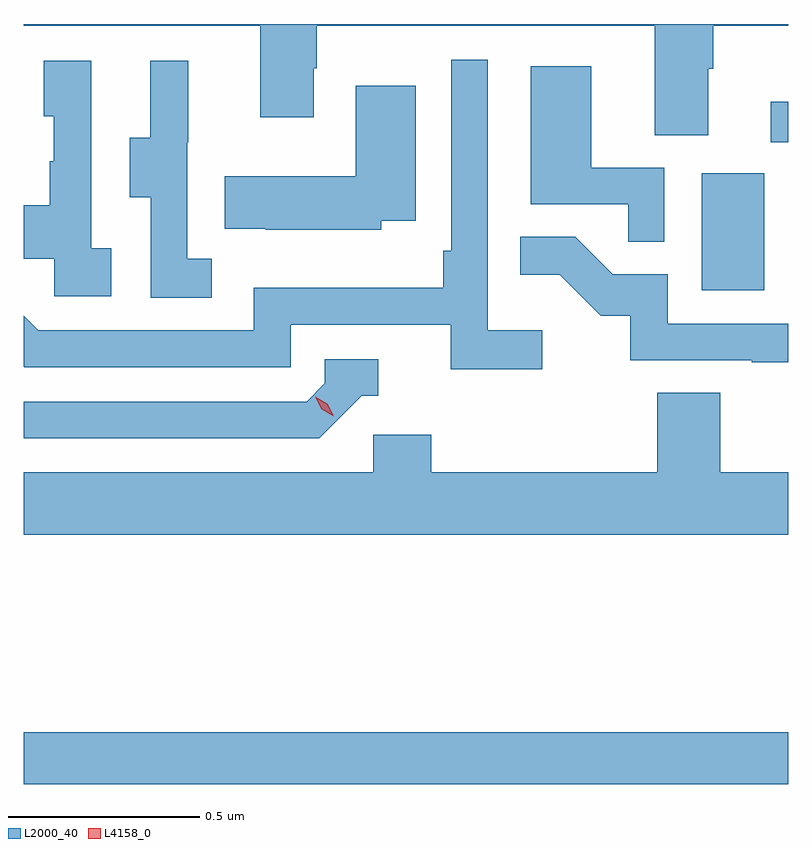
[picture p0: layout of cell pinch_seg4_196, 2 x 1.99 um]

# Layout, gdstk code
import gdstk
lib = gdstk.Library(unit=1e-6, precision=1e-09)
def R(c, l, rs):  # rectangles x0, y0, x1, y1
    for r in rs: c.add(gdstk.rectangle(r[:2], r[2:], *l))
def P(c, l, *ps):  # polygons
    for p in ps: c.add(gdstk.Polygon(p, *l))
L2000_40 = (2000, 40)
L4158_0 = (4158, 0)

pinch_seg4_196 = lib.new_cell('pinch_seg4_196')
R(pinch_seg4_196, L2000_40, [(960.79,812.152,962.79,812.288), (962.564,813.444,962.728,813.751), (962.745,813.831,962.79,813.937)])
P(pinch_seg4_196, L2000_40, [(962.581,814.024),(962.594,814.024),(962.594,814.136),(962.79,814.136),(962.79,814.141),(960.79,814.141),(960.79,814.136),(961.409,814.136),(961.409,813.897),(961.549,813.897),(961.549,814.025),(961.557,814.025),(961.557,814.136),(962.441,814.136),(962.441,813.85),(962.581,813.85)],
  [(962.146,813.34),(962.004,813.34),(962.004,814.048),(961.908,814.048),(961.908,813.547),(961.888,813.547),(961.888,813.451),(961.392,813.451),(961.392,813.339),(960.828,813.339),(960.79,813.377),(960.79,813.244),(960.791,813.243),(961.488,813.243),(961.488,813.354),(961.907,813.354),(961.907,813.238),(962.146,813.238)],
  [(961.018,813.554),(960.966,813.554),(960.966,814.045),(960.842,814.045),(960.842,813.9),(960.868,813.9),(960.868,813.782),(960.858,813.782),(960.858,813.667),(960.79,813.667),(960.79,813.527),(960.87,813.527),(960.87,813.429),(961.018,813.429)],
  [(961.282,813.527),(961.218,813.527),(961.218,813.831),(961.22,813.831),(961.22,814.045),(961.121,814.045),(961.121,813.843),(961.067,813.843),(961.067,813.688),(961.122,813.688),(961.122,813.424),(961.282,813.424)],
  [(962.466,813.765),(962.275,813.765),(962.275,814.03),(962.117,814.03),(962.117,813.669),(962.371,813.669),(962.371,813.571),(962.466,813.571)],
  [(961.725,813.626),(961.816,813.626),(961.816,813.979),(961.658,813.979),(961.658,813.742),(961.315,813.742),(961.315,813.605),(961.423,813.605),(961.423,813.602),(961.725,813.602)],
  [(962.79,813.357),(962.475,813.357),(962.475,813.486),(962.331,813.486),(962.233,813.584),(962.089,813.584),(962.089,813.485),(962.193,813.485),(962.3,813.378),(962.377,813.378),(962.377,813.261),(962.695,813.261),(962.695,813.256),(962.79,813.256)],
  [(961.674,813.168),(961.717,813.168),(961.717,813.264),(961.578,813.264),(961.578,813.201),(961.53,813.153),(960.79,813.153),(960.79,813.057),(961.563,813.057)],
  [(962.79,812.968),(962.612,812.968),(962.612,813.176),(962.447,813.176),(962.447,812.968),(961.856,812.968),(961.856,813.066),(961.704,813.066),(961.704,812.968),(960.79,812.968),(960.79,812.804),(962.79,812.804)])
P(pinch_seg4_196, L4158_0, [(961.601,813.114),(961.57,813.133),(961.553,813.166),(961.553,813.166),(961.553,813.166),(961.584,813.147),(961.601,813.115),(961.601,813.114)])

lib.write_gds('pinch_seg4_196.gds')
